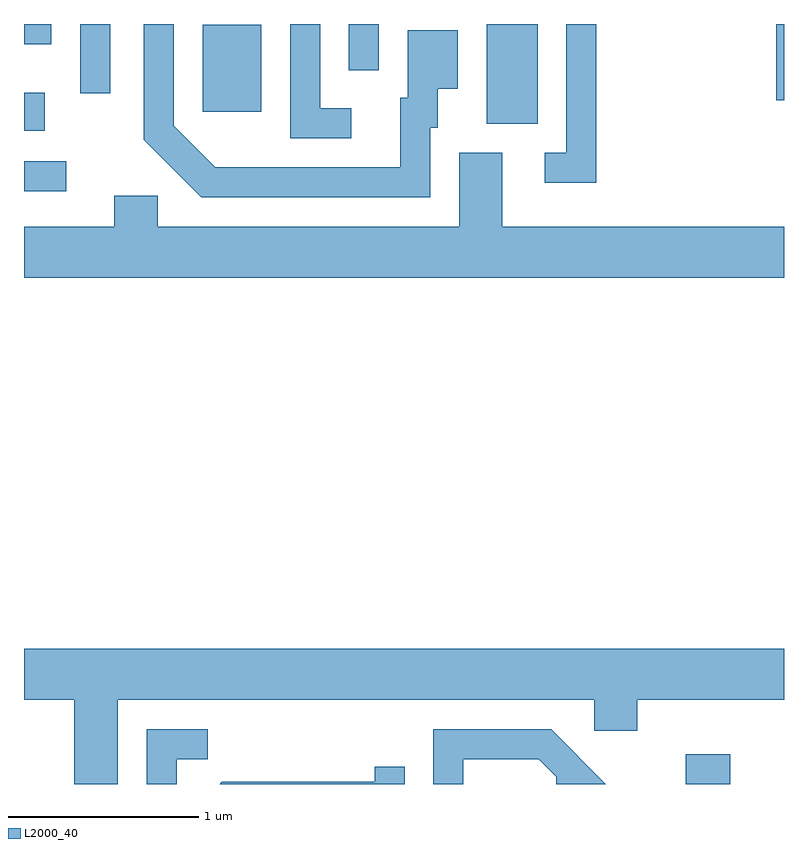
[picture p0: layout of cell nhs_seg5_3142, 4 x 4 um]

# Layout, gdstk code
import gdstk
lib = gdstk.Library(unit=1e-6, precision=1e-09)
def R(c, l, rs):  # rectangles x0, y0, x1, y1
    for r in rs: c.add(gdstk.rectangle(r[:2], r[2:], *l))
def P(c, l, *ps):  # polygons
    for p in ps: c.add(gdstk.Polygon(p, *l))
L2000_40 = (2000, 40)

nhs_seg5_3142 = lib.new_cell('nhs_seg5_3142')
R(nhs_seg5_3142, L2000_40, [(281.093,1514.072,281.329,1514.229), (277.611,1517.191,277.833,1517.349), (277.611,1517.511,277.719,1517.709), (280.046,1517.546,280.314,1518.072), (278.551,1517.611,278.859,1518.069), (281.571,1517.671,281.611,1518.072), (277.906,1517.708,278.064,1518.072), (279.321,1517.828,279.479,1518.072), (277.611,1517.966,277.754,1518.072)])
P(nhs_seg5_3142, L2000_40, [(279.333,1517.629),(279.169,1517.629),(279.169,1518.072),(279.011,1518.072),(279.011,1517.471),(279.333,1517.471)],
  [(280.624,1518.072),(280.466,1518.072),(280.466,1517.394),(280.353,1517.394),(280.353,1517.236),(280.624,1517.236)],
  [(279.749,1517.526),(279.789,1517.526),(279.789,1517.731),(279.894,1517.731),(279.894,1518.039),(279.631,1518.039),(279.631,1517.684),(279.591,1517.684),(279.591,1517.319),(278.617,1517.319),(278.399,1517.537),(278.399,1518.072),(278.241,1518.072),(278.241,1517.464),(278.544,1517.161),(279.749,1517.161)],
  [(281.611,1517.004),(280.129,1517.004),(280.129,1517.394),(279.901,1517.394),(279.901,1517.004),(278.314,1517.004),(278.314,1517.169),(278.086,1517.169),(278.086,1517.004),(277.611,1517.004),(277.611,1516.736),(281.611,1516.736)],
  [(278.104,1514.516),(280.611,1514.516),(280.611,1514.351),(280.839,1514.351),(280.839,1514.516),(281.611,1514.516),(281.611,1514.784),(277.611,1514.784),(277.611,1514.516),(277.876,1514.516),(277.876,1514.072),(278.104,1514.072)],
  [(279.924,1514.201),(280.319,1514.201),(280.411,1514.109),(280.411,1514.072),(280.674,1514.072),(280.387,1514.359),(279.766,1514.359),(279.766,1514.072),(279.924,1514.072)],
  [(278.414,1514.201),(278.578,1514.201),(278.578,1514.359),(278.256,1514.359),(278.256,1514.072),(278.414,1514.072)],
  [(279.614,1514.163),(279.456,1514.163),(279.456,1514.084),(278.652,1514.084),(278.64,1514.072),(279.614,1514.072)])

lib.write_gds('nhs_seg5_3142.gds')
